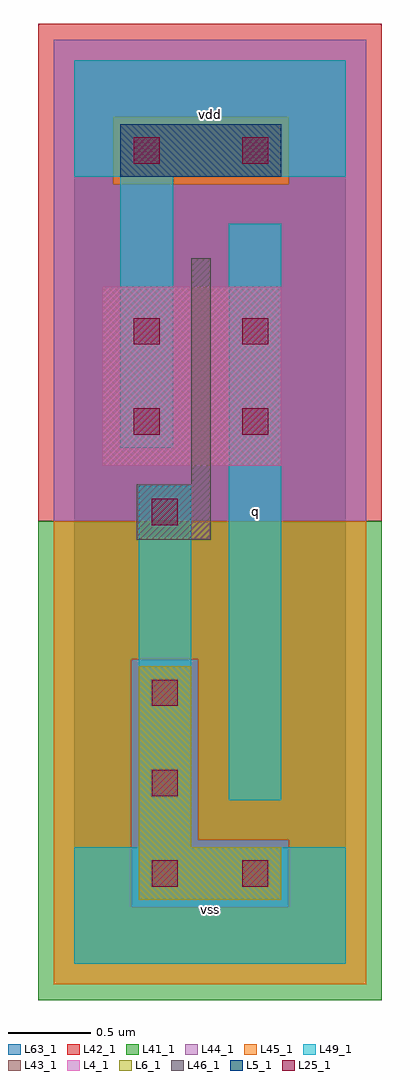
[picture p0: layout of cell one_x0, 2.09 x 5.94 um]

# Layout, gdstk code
import gdstk
lib = gdstk.Library(unit=1e-6, precision=1e-09)
def R(c, l, rs):  # rectangles x0, y0, x1, y1
    for r in rs: c.add(gdstk.rectangle(r[:2], r[2:], *l))
def A(c, l, x, y, w, h, nx, ny, dx, dy):  # array of equal rectangles
    R(c, l, [(x+i*dx, y+j*dy, x+i*dx+w, y+j*dy+h) for i in range(nx) for j in range(ny)])
L4_1 = (4, 1)
L5_1 = (5, 1)
L6_1 = (6, 1)
L25_1 = (25, 1)
L41_1 = (41, 1)
L42_1 = (42, 1)
L43_1 = (43, 1)
L44_1 = (44, 1)
L45_1 = (45, 1)
L46_1 = (46, 1)
L49_1 = (49, 1)
L63_1 = (63, 1)

one_x0 = lib.new_cell('one_x0')
R(one_x0, L4_1, [(0.17,3.03,1.26,4.12)])
R(one_x0, L5_1, [(0.28,4.79,1.26,5.11)])
R(one_x0, L6_1, [(0.39,0.39,1.26,0.71), (0.39,0.71,0.71,1.81)])
A(one_x0, L25_1, 0.47, 0.47, 0.16, 0.16, 1, 3, 0, 0.55)
R(one_x0, L25_1, [(1.02,0.47,1.18,0.63), (0.47,2.67,0.63,2.83), (0.36,3.22,0.52,3.38), (1.02,3.22,1.18,3.38), (0.36,3.77,0.52,3.93), (1.02,3.77,1.18,3.93), (0.36,4.87,0.52,5.03), (1.02,4.87,1.18,5.03)])
R(one_x0, L41_1, [(-0.22,-0.22,1.87,2.695)])
R(one_x0, L42_1, [(-0.22,2.695,1.87,5.72)])
R(one_x0, L43_1, [(0.39,0.39,1.26,0.71), (0.39,0.71,0.71,1.81), (0.17,3.03,1.26,4.12), (0.28,4.79,1.26,5.11)])
R(one_x0, L44_1, [(0.345,0.345,1.305,0.755), (0.345,0.755,0.755,1.855), (-0.125,2.695,1.775,4.745), (-0.125,4.745,0.235,5.155), (1.305,4.745,1.775,5.155), (-0.125,5.155,1.775,5.625)])
R(one_x0, L45_1, [(-0.125,-0.125,1.775,0.345), (-0.125,0.345,0.345,1.855), (1.305,0.345,1.775,0.755), (0.755,0.755,1.775,1.855), (-0.125,1.855,1.775,2.695), (0.235,4.745,1.305,5.155)])
R(one_x0, L46_1, [(0.38,2.58,0.83,2.92), (0.71,2.92,0.83,4.295)])
R(one_x0, L49_1, [(0,0,1.65,0.71), (0.39,0.71,0.71,2.91), (0.94,0.995,1.26,4.505), (0.28,3.14,0.6,4.79), (0,4.79,1.65,5.5)])
R(one_x0, L63_1, [(0,0,1.65,5.5)])
one_x0.add(gdstk.Label('vss', (0.825,0.33), layer=49, texttype=1))
one_x0.add(gdstk.Label('vss', (0.825,0.33), layer=49, texttype=1))
one_x0.add(gdstk.Label('vdd', (0.825,5.17), layer=49, texttype=1))
one_x0.add(gdstk.Label('vdd', (0.825,5.17), layer=49, texttype=1))
one_x0.add(gdstk.Label('q', (1.1,2.75), layer=49, texttype=1))
one_x0.add(gdstk.Label('q', (1.1,2.75), layer=49, texttype=1))

lib.write_gds('one_x0.gds')
